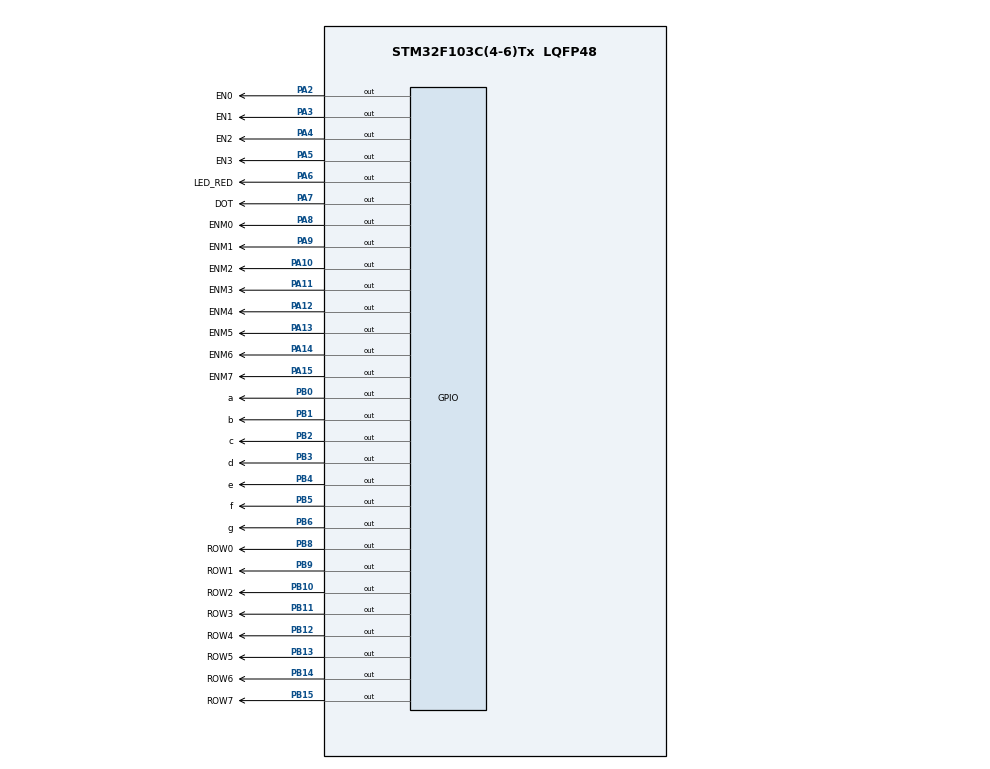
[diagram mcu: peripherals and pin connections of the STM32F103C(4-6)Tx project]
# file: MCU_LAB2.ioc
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Mcu.Family=STM32F1
Mcu.Name=STM32F103C(4-6)Tx
Mcu.Package=LQFP48
NVIC.PriorityGroup=NVIC_PRIORITYGROUP_4
NVIC.TIM2_IRQn=true\:0\:0\:false\:false\:true\:true\:true\:true
PA10.GPIO_Label=ENM2
PA10.Signal=GPIO_Output
PA11.GPIO_Label=ENM3
PA11.Signal=GPIO_Output
PA12.GPIO_Label=ENM4
PA12.Signal=GPIO_Output
PA13.GPIO_Label=ENM5
PA13.Signal=GPIO_Output
PA14.GPIO_Label=ENM6
PA14.Signal=GPIO_Output
PA15.GPIO_Label=ENM7
PA15.Signal=GPIO_Output
PA2.GPIO_Label=EN0
PA2.Signal=GPIO_Output
PA3.GPIO_Label=EN1
PA3.Signal=GPIO_Output
PA4.GPIO_Label=EN2
PA4.Signal=GPIO_Output
PA5.GPIO_Label=EN3
PA5.Signal=GPIO_Output
PA6.GPIO_Label=LED_RED
PA6.Signal=GPIO_Output
PA7.GPIO_Label=DOT
PA7.Signal=GPIO_Output
PA8.GPIO_Label=ENM0
PA8.Signal=GPIO_Output
PA9.GPIO_Label=ENM1
PA9.Signal=GPIO_Output
PB0.GPIO_Label=a
PB0.Signal=GPIO_Output
PB1.GPIO_Label=b
PB1.Signal=GPIO_Output
PB10.GPIO_Label=ROW2
PB10.Signal=GPIO_Output
PB11.GPIO_Label=ROW3
PB11.Signal=GPIO_Output
PB12.GPIO_Label=ROW4
PB12.Signal=GPIO_Output
PB13.GPIO_Label=ROW5
PB13.Signal=GPIO_Output
PB14.GPIO_Label=ROW6
PB14.Signal=GPIO_Output
PB15.GPIO_Label=ROW7
PB15.Signal=GPIO_Output
PB2.GPIO_Label=c
PB2.Signal=GPIO_Output
PB3.GPIO_Label=d
PB3.Signal=GPIO_Output
PB4.GPIO_Label=e
PB4.Signal=GPIO_Output
PB5.GPIO_Label=f
PB5.Signal=GPIO_Output
PB6.GPIO_Label=g
PB6.Signal=GPIO_Output
PB8.GPIO_Label=ROW0
PB8.Signal=GPIO_Output
PB9.GPIO_Label=ROW1
PB9.Signal=GPIO_Output
ProjectManager.HeapSize=0x200
ProjectManager.StackSize=0x400
ProjectManager.TargetToolchain=STM32CubeIDE
RCC.APB1Freq_Value=8000000
RCC.APB2Freq_Value=8000000
TIM2.Period=10
TIM2.Prescaler=8000
VP_TIM2_VS_ClockSourceINT.Mode=Internal
board=custom

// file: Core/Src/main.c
/* USER CODE BEGIN Header */
/**
  ******************************************************************************
  * @file           : main.c
  * @brief          : Main program body
  ******************************************************************************
  * @attention
  *
  * Copyright (c) 2022 STMicroelectronics.
  * All rights reserved.
  *
  * This software is licensed under terms that can be found in the LICENSE file
  * in the root directory of this software component.
  * If no LICENSE file comes with this software, it is provided AS-IS.
  *
  ******************************************************************************
  */
/* USER CODE END Header */
#include "main.h"
#include "software_timer.h"

/* USER CODE BEGIN PM */
extern int timer0Flag;
extern int timer1Flag;
/* USER CODE END PM */

TIM_HandleTypeDef htim2;

void SystemClock_Config(void);
static void MX_GPIO_Init(void);
static void MX_TIM2_Init(void);

/* USER CODE BEGIN 0 */

void reset7SEG() {				// Turn off LED 7-SEGMENT
	GPIOB->ODR |= 0x7F;			// 0x7F = 0b1111111
}

void display7SEG(int number) {	// Turn on LED 7-SEGMENT corresponding to parameter
	reset7SEG();
	switch(number) {
		case 0:
			GPIOB->ODR &= ~0x3F; // 0 = 0b1111110, but in order to turn on we need to get inverse this binary number
			break ;
		case 1:
			GPIOB->ODR &= ~0x06; // similarly
			break ;
		case 2:
			GPIOB->ODR &= ~0x5B; // similarly
			break ;
		case 3:
			GPIOB->ODR &= ~0x4F; // similarly
			break ;
		case 4:
			GPIOB->ODR &= ~0x66; // similarly
			break ;
		case 5:
			GPIOB->ODR &= ~0x6D; // similarly
			break ;
		case 6:
			GPIOB->ODR &= ~0x7D; // similarly
			break ;
		case 7:
			GPIOB->ODR &= ~0x07; // similarly
			break ;
		case 8:
			GPIOB->ODR &= ~0x7F; // similarly
			break ;
		case 9:
			GPIOB->ODR &= ~0x67; // similarly
			break ;
		default:
			GPIOB->ODR &= ~0x77; // similarly
			break ;
	}
}

void turn_off_all_7seg() {				// disable all LED 7-SEGMENT
	GPIOA->ODR |= 0x3C;					// 0x3C = 0b111100
}

void turn_on_7seg(int index) {			// enable LED 7-SEGMENT at index
	turn_off_all_7seg();				// before turn on LED, i turn off all LED have turned on
	int shift = 2 + index;				// EN0, EN1, EN2, EN3 at PA2, PA3, PA4, PA5
	GPIOA->ODR &= ~(1<<shift);			// this only write at bit we need and not affect any bit else
}

void clear_matrix() {					// disable led matrix
	GPIOA->ODR |= 0xFF00;				// turn off matrix's column
	GPIOB->ODR |= 0xFF00;				// turn off matrix's row
}

const int MAX_LED_MATRIX = 8;
uint8_t matrix_buffer[8] = {0x01, 0x02, 0x03, 0x04, 0x05, 0x06, 0x07, 0x08};
uint8_t matrixA[8] = {0x18, 0x3c, 0x66, 0xc3, 0xff, 0xff, 0xc3, 0xc3};

void updateLEDMatrix(int index){					// turn on led matrix
	clear_matrix();									// turn off all rows and columns before turn on one of it
	int shift = (index<8) ? (index+8) : index;
	GPIOB->ODR &= ~(1<<shift);						// turn on row corresponding to index
	if (index<8)
		GPIOA->ODR &= ~(matrix_buffer[index]<<8);	// display matrix_buffer if 0 <= index < 8 (1->8 in binary)
	else
		GPIOA->ODR &= ~(matrixA[index-8]<<8);		// display matrixA if 15>= index > 8
}

/* USER CODE END 0 */

int main(void)
{

  /* MCU Configuration--------------------------------------------------------*/

  /* Reset of all peripherals, Initializes the Flash interface and the Systick. */
  HAL_Init();

  /* Configure the system clock */
  SystemClock_Config();

  /* Initialize all configured peripherals */
  MX_GPIO_Init();
  MX_TIM2_Init();
  /* USER CODE BEGIN 2 */
  HAL_TIM_Base_Start_IT(&htim2);
  /* USER CODE END 2 */

  /* Infinite loop */
  /* USER CODE BEGIN WHILE */
  	int indexLed = 0;
  	int value = 0;
  	int indexLedMatrix = 0;
    set_timer0(500);
    int counterLed = 50;
    while (1)
    {
  	  if (timer0Flag==1) {
			set_timer0(10);								// update matrix led every 10ms

			updateLEDMatrix(indexLedMatrix);			// display 1->8 in binary and then the letter 'A'
  		  	indexLedMatrix++;
  		 	indexLedMatrix %= 16;

  		  	if (counterLed>0) {							// change led 7-segment after 250ms
  		  		counterLed--;
  		  		if (counterLed==0) {
  		  			counterLed = 25;
					HAL_GPIO_TogglePin(LED_RED_GPIO_Port, LED_RED_Pin);
  		  			HAL_GPIO_TogglePin(DOT_GPIO_Port, DOT_Pin);

					turn_on_7seg(indexLed);
					indexLed++;
					indexLed %= 4;

					display7SEG(value);
					value++;
					value %= 10;
  		  		}
  		  	}
  	  }

      /* USER CODE END WHILE */

    }
}

void SystemClock_Config(void)
{
  RCC_OscInitTypeDef RCC_OscInitStruct = {0};
  RCC_ClkInitTypeDef RCC_ClkInitStruct = {0};

  /** Initializes the RCC Oscillators according to the specified parameters
  * in the RCC_OscInitTypeDef structure.
  */
  RCC_OscInitStruct.OscillatorType = RCC_OSCILLATORTYPE_HSI;
  RCC_OscInitStruct.HSIState = RCC_HSI_ON;
  RCC_OscInitStruct.HSICalibrationValue = RCC_HSICALIBRATION_DEFAULT;
  RCC_OscInitStruct.PLL.PLLState = RCC_PLL_NONE;
  if (HAL_RCC_OscConfig(&RCC_OscInitStruct) != HAL_OK)
  {
    Error_Handler();
  }

  /** Initializes the CPU, AHB and APB buses clocks
  */
  RCC_ClkInitStruct.ClockType = RCC_CLOCKTYPE_HCLK|RCC_CLOCKTYPE_SYSCLK
                              |RCC_CLOCKTYPE_PCLK1|RCC_CLOCKTYPE_PCLK2;
  RCC_ClkInitStruct.SYSCLKSource = RCC_SYSCLKSOURCE_HSI;
  RCC_ClkInitStruct.AHBCLKDivider = RCC_SYSCLK_DIV1;
  RCC_ClkInitStruct.APB1CLKDivider = RCC_HCLK_DIV1;
  RCC_ClkInitStruct.APB2CLKDivider = RCC_HCLK_DIV1;

  if (HAL_RCC_ClockConfig(&RCC_ClkInitStruct, FLASH_LATENCY_0) != HAL_OK)
  {
    Error_Handler();
  }
}

static void MX_TIM2_Init(void)
{

  TIM_ClockConfigTypeDef sClockSourceConfig = {0};
  TIM_MasterConfigTypeDef sMasterConfig = {0};

  htim2.Instance = TIM2;
  htim2.Init.Prescaler = 8000;
  htim2.Init.CounterMode = TIM_COUNTERMODE_UP;
  htim2.Init.Period = 10;
  htim2.Init.ClockDivision = TIM_CLOCKDIVISION_DIV1;
  htim2.Init.AutoReloadPreload = TIM_AUTORELOAD_PRELOAD_DISABLE;
  if (HAL_TIM_Base_Init(&htim2) != HAL_OK)
  {
    Error_Handler();
  }
  sClockSourceConfig.ClockSource = TIM_CLOCKSOURCE_INTERNAL;
  if (HAL_TIM_ConfigClockSource(&htim2, &sClockSourceConfig) != HAL_OK)
  {
    Error_Handler();
  }
  sMasterConfig.MasterOutputTrigger = TIM_TRGO_RESET;
  sMasterConfig.MasterSlaveMode = TIM_MASTERSLAVEMODE_DISABLE;
  if (HAL_TIMEx_MasterConfigSynchronization(&htim2, &sMasterConfig) != HAL_OK)
  {
    Error_Handler();
  }

}

static void MX_GPIO_Init(void)
{
  GPIO_InitTypeDef GPIO_InitStruct = {0};

  /* GPIO Ports Clock Enable */
  __HAL_RCC_GPIOA_CLK_ENABLE();
  __HAL_RCC_GPIOB_CLK_ENABLE();

  /*Configure GPIO pin Output Level */
  HAL_GPIO_WritePin(GPIOA, EN0_Pin|EN1_Pin|EN2_Pin|EN3_Pin
                          |LED_RED_Pin|DOT_Pin|ENM0_Pin|ENM1_Pin
                          |ENM2_Pin|ENM3_Pin|ENM4_Pin|ENM5_Pin
                          |ENM6_Pin|ENM7_Pin, GPIO_PIN_SET);

  /*Configure GPIO pin Output Level */
  HAL_GPIO_WritePin(GPIOB, a_Pin|b_Pin|c_Pin|ROW2_Pin
                          |ROW3_Pin|ROW4_Pin|ROW5_Pin|ROW6_Pin
                          |ROW7_Pin|d_Pin|e_Pin|f_Pin
                          |g_Pin|ROW0_Pin|ROW1_Pin, GPIO_PIN_SET);

  /*Configure GPIO pins : EN0_Pin EN1_Pin EN2_Pin EN3_Pin
                           LED_RED_Pin DOT_Pin ENM0_Pin ENM1_Pin
                           ENM2_Pin ENM3_Pin ENM4_Pin ENM5_Pin
                           ENM6_Pin ENM7_Pin */
  GPIO_InitStruct.Pin = EN0_Pin|EN1_Pin|EN2_Pin|EN3_Pin
                          |LED_RED_Pin|DOT_Pin|ENM0_Pin|ENM1_Pin
                          |ENM2_Pin|ENM3_Pin|ENM4_Pin|ENM5_Pin
                          |ENM6_Pin|ENM7_Pin;
  GPIO_InitStruct.Mode = GPIO_MODE_OUTPUT_PP;
  GPIO_InitStruct.Pull = GPIO_NOPULL;
  GPIO_InitStruct.Speed = GPIO_SPEED_FREQ_LOW;
  HAL_GPIO_Init(GPIOA, &GPIO_InitStruct);

  /*Configure GPIO pins : a_Pin b_Pin c_Pin ROW2_Pin
                           ROW3_Pin ROW4_Pin ROW5_Pin ROW6_Pin
                           ROW7_Pin d_Pin e_Pin f_Pin
                           g_Pin ROW0_Pin ROW1_Pin */
  GPIO_InitStruct.Pin = a_Pin|b_Pin|c_Pin|ROW2_Pin
                          |ROW3_Pin|ROW4_Pin|ROW5_Pin|ROW6_Pin
                          |ROW7_Pin|d_Pin|e_Pin|f_Pin
                          |g_Pin|ROW0_Pin|ROW1_Pin;
  GPIO_InitStruct.Mode = GPIO_MODE_OUTPUT_PP;
  GPIO_InitStruct.Pull = GPIO_NOPULL;
  GPIO_InitStruct.Speed = GPIO_SPEED_FREQ_LOW;
  HAL_GPIO_Init(GPIOB, &GPIO_InitStruct);

}

/* USER CODE BEGIN 4 */

void HAL_TIM_PeriodElapsedCallback(TIM_HandleTypeDef *htim) {
	timer0_run();
}
/* USER CODE END 4 */

void Error_Handler(void)
{
  __disable_irq();
  while (1)
  {
  }
}
